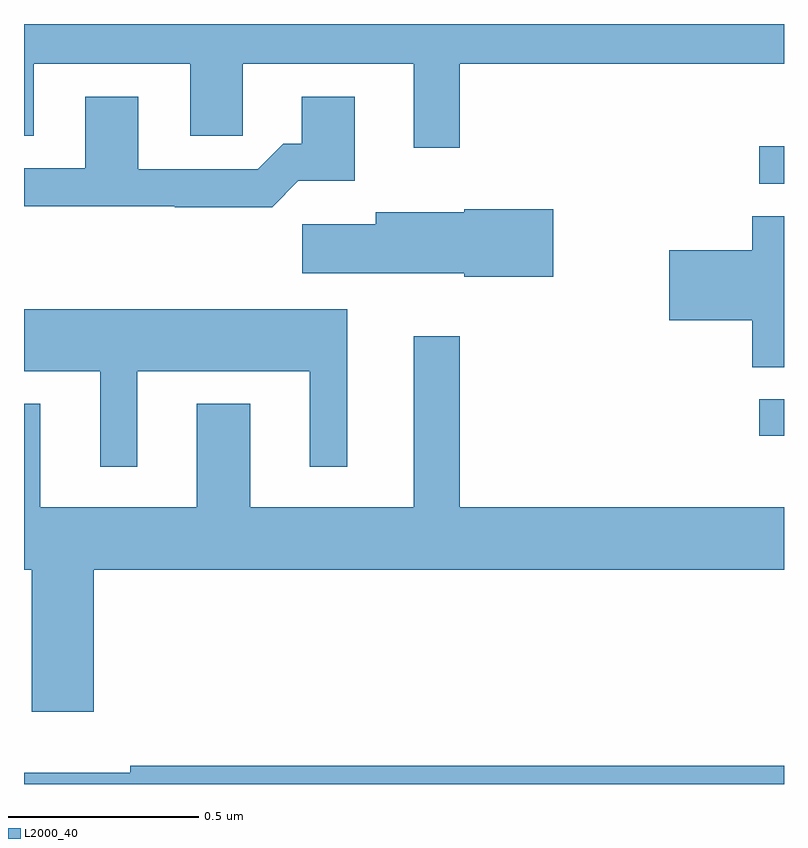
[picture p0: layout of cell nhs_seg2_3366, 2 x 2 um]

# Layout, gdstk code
import gdstk
lib = gdstk.Library(unit=1e-6, precision=1e-09)
def R(c, l, rs):  # rectangles x0, y0, x1, y1
    for r in rs: c.add(gdstk.rectangle(r[:2], r[2:], *l))
def P(c, l, *ps):  # polygons
    for p in ps: c.add(gdstk.Polygon(p, *l))
L2000_40 = (2000, 40)

nhs_seg2_3366 = lib.new_cell('nhs_seg2_3366')
R(nhs_seg2_3366, L2000_40, [(154.935,586.716,155,586.812), (154.935,587.379,155,587.478)])
P(nhs_seg2_3366, L2000_40, [(153,587.506),(153.025,587.506),(153.025,587.696),(153.437,587.696),(153.437,587.506),(153.576,587.506),(153.576,587.696),(154.025,587.696),(154.025,587.475),(154.147,587.475),(154.147,587.696),(155,587.696),(155,587.8),(153,587.8)],
  [(153.722,587.387),(153.871,587.387),(153.871,587.608),(153.731,587.608),(153.731,587.485),(153.682,587.485),(153.615,587.418),(153.301,587.418),(153.301,587.608),(153.161,587.608),(153.161,587.421),(153,587.421),(153,587.32),(153.397,587.32),(153.397,587.318),(153.653,587.318)],
  [(154.393,587.313),(154.158,587.313),(154.158,587.305),(153.926,587.305),(153.926,587.273),(153.732,587.273),(153.732,587.144),(154.158,587.144),(154.158,587.135),(154.393,587.135)],
  [(155,587.294),(154.916,587.294),(154.916,587.204),(154.698,587.204),(154.698,587.021),(154.916,587.021),(154.916,586.897),(155,586.897)],
  [(153.298,586.886),(153.752,586.886),(153.752,586.635),(153.85,586.635),(153.85,587.05),(153,587.05),(153,586.886),(153.2,586.886),(153.2,586.635),(153.298,586.635)],
  [(153.184,586.364),(155,586.364),(155,586.528),(154.147,586.528),(154.147,586.978),(154.025,586.978),(154.025,586.528),(153.595,586.528),(153.595,586.801),(153.455,586.801),(153.455,586.528),(153.043,586.528),(153.043,586.801),(153,586.801),(153,586.364),(153.02,586.364),(153.02,585.99),(153.184,585.99)],
  [(155,585.848),(153.28,585.848),(153.28,585.829),(153,585.829),(153,585.8),(155,585.8)])

lib.write_gds('nhs_seg2_3366.gds')
